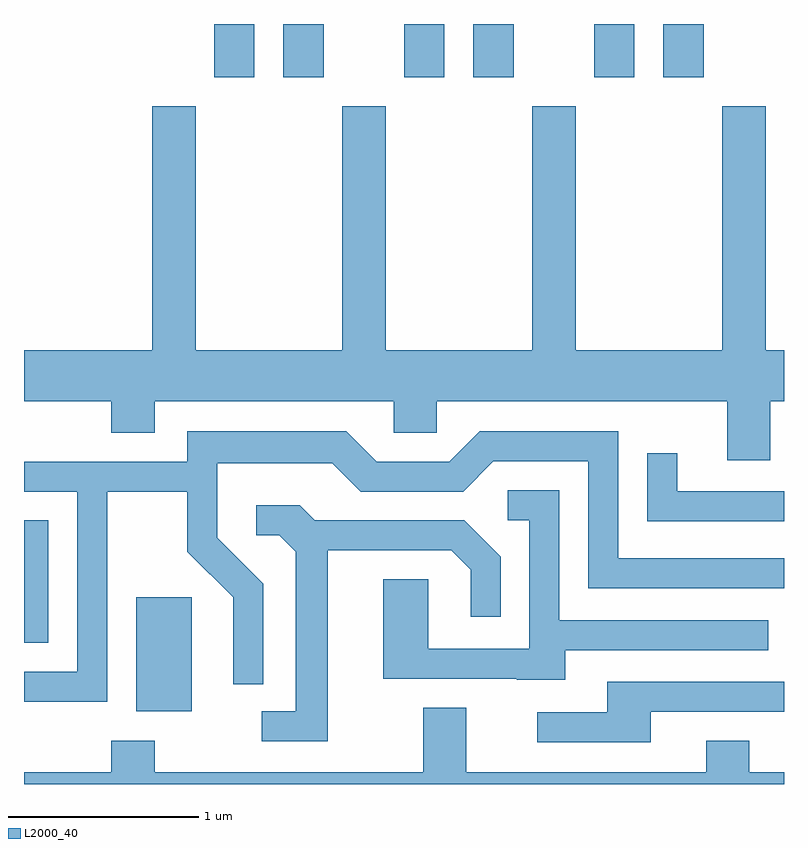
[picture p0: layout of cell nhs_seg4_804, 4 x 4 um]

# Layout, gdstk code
import gdstk
lib = gdstk.Library(unit=1e-6, precision=1e-09)
def R(c, l, rs):  # rectangles x0, y0, x1, y1
    for r in rs: c.add(gdstk.rectangle(r[:2], r[2:], *l))
def P(c, l, *ps):  # polygons
    for p in ps: c.add(gdstk.Polygon(p, *l))
L2000_40 = (2000, 40)

nhs_seg4_804 = lib.new_cell('nhs_seg4_804')
R(nhs_seg4_804, L2000_40, [(208.201,1366.366,208.494,1366.964), (207.611,1366.726,207.739,1367.369), (208.611,1369.701,208.824,1369.982), (208.976,1369.701,209.189,1369.982), (209.611,1369.701,209.824,1369.982), (209.976,1369.701,210.189,1369.982), (210.611,1369.701,210.824,1369.982), (210.976,1369.701,211.189,1369.982)])
P(nhs_seg4_804, L2000_40, [(211.539,1367.996),(211.611,1367.996),(211.611,1368.264),(211.514,1368.264),(211.514,1369.549),(211.286,1369.549),(211.286,1368.264),(210.514,1368.264),(210.514,1369.549),(210.286,1369.549),(210.286,1368.264),(209.514,1368.264),(209.514,1369.549),(209.286,1369.549),(209.286,1368.264),(208.514,1368.264),(208.514,1369.549),(208.286,1369.549),(208.286,1368.264),(207.611,1368.264),(207.611,1367.996),(208.071,1367.996),(208.071,1367.831),(208.299,1367.831),(208.299,1367.996),(209.556,1367.996),(209.556,1367.831),(209.784,1367.831),(209.784,1367.996),(211.311,1367.996),(211.311,1367.686),(211.539,1367.686)],
  [(208.049,1367.521),(208.471,1367.521),(208.471,1367.204),(208.711,1366.964),(208.711,1366.508),(208.869,1366.508),(208.869,1367.037),(208.629,1367.277),(208.629,1367.671),(209.234,1367.671),(209.384,1367.521),(209.922,1367.521),(210.082,1367.681),(210.581,1367.681),(210.581,1367.011),(211.611,1367.011),(211.611,1367.169),(210.739,1367.169),(210.739,1367.839),(210.009,1367.839),(209.849,1367.679),(209.467,1367.679),(209.307,1367.839),(208.471,1367.839),(208.471,1367.679),(207.611,1367.679),(207.611,1367.521),(207.891,1367.521),(207.891,1366.574),(207.611,1366.574),(207.611,1366.416),(208.049,1366.416)],
  [(211.611,1367.524),(211.049,1367.524),(211.049,1367.723),(210.891,1367.723),(210.891,1367.366),(211.611,1367.366)],
  [(210.459,1366.686),(211.528,1366.686),(211.528,1366.844),(210.429,1366.844),(210.429,1367.529),(210.158,1367.529),(210.158,1367.371),(210.271,1367.371),(210.271,1366.694),(209.739,1366.694),(209.739,1367.059),(209.501,1367.059),(209.501,1366.536),(210.205,1366.536),(210.205,1366.531),(210.459,1366.531)],
  [(209.209,1367.211),(209.859,1367.211),(209.961,1367.109),(209.961,1366.863),(210.119,1366.863),(210.119,1367.177),(209.927,1367.369),(209.142,1367.369),(209.062,1367.449),(208.833,1367.449),(208.833,1367.291),(208.954,1367.291),(209.041,1367.204),(209.041,1366.364),(208.863,1366.364),(208.863,1366.206),(209.209,1366.206)],
  [(210.909,1366.361),(211.611,1366.361),(211.611,1366.519),(210.681,1366.519),(210.681,1366.359),(210.313,1366.359),(210.313,1366.201),(210.909,1366.201)],
  [(211.611,1366.044),(211.429,1366.044),(211.429,1366.209),(211.201,1366.209),(211.201,1366.044),(209.939,1366.044),(209.939,1366.384),(209.711,1366.384),(209.711,1366.044),(208.299,1366.044),(208.299,1366.209),(208.071,1366.209),(208.071,1366.044),(207.611,1366.044),(207.611,1365.982),(211.611,1365.982)])

lib.write_gds('nhs_seg4_804.gds')
